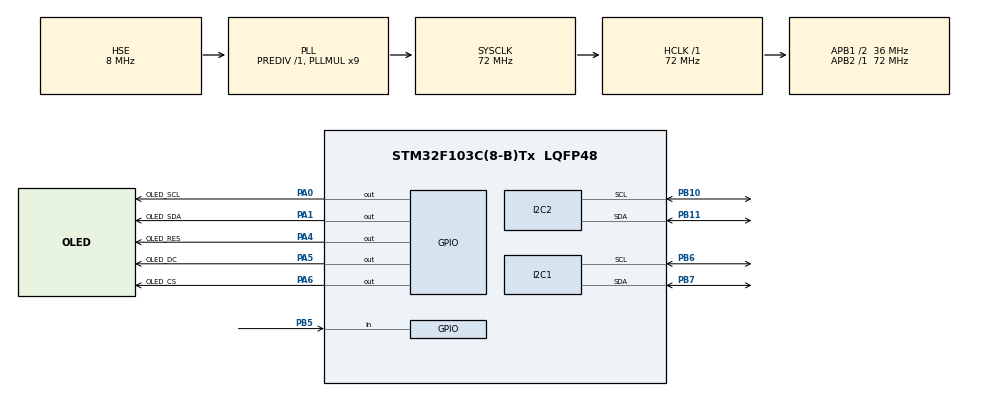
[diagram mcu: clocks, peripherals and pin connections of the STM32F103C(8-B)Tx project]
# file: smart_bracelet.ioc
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Mcu.Family=STM32F1
Mcu.Name=STM32F103C(8-B)Tx
Mcu.Package=LQFP48
NVIC.PriorityGroup=NVIC_PRIORITYGROUP_4
NVIC.TIM1_UP_IRQn=true\:0\:0\:false\:false\:true\:true\:true\:true
PA0-WKUP.GPIO_Label=OLED_SCL
PA0-WKUP.GPIO_ModeDefaultOutputPP=GPIO_MODE_OUTPUT_PP
PA0-WKUP.GPIO_PuPd=GPIO_PULLUP
PA0-WKUP.GPIO_Speed=GPIO_SPEED_FREQ_HIGH
PA0-WKUP.PinState=GPIO_PIN_SET
PA0-WKUP.Signal=GPIO_Output
PA1.GPIO_Label=OLED_SDA
PA1.GPIO_ModeDefaultOutputPP=GPIO_MODE_OUTPUT_PP
PA1.GPIO_PuPd=GPIO_PULLUP
PA1.GPIO_Speed=GPIO_SPEED_FREQ_HIGH
PA1.PinState=GPIO_PIN_SET
PA1.Signal=GPIO_Output
PA13.Mode=Serial_Wire
PA13.Signal=SYS_JTMS-SWDIO
PA14.Mode=Serial_Wire
PA14.Signal=SYS_JTCK-SWCLK
PA4.GPIO_Label=OLED_RES
PA4.GPIO_ModeDefaultOutputPP=GPIO_MODE_OUTPUT_PP
PA4.GPIO_PuPd=GPIO_PULLUP
PA4.GPIO_Speed=GPIO_SPEED_FREQ_HIGH
PA4.PinState=GPIO_PIN_SET
PA4.Signal=GPIO_Output
PA5.GPIO_Label=OLED_DC
PA5.GPIO_ModeDefaultOutputPP=GPIO_MODE_OUTPUT_PP
PA5.GPIO_PuPd=GPIO_PULLUP
PA5.GPIO_Speed=GPIO_SPEED_FREQ_HIGH
PA5.PinState=GPIO_PIN_SET
PA5.Signal=GPIO_Output
PA6.GPIO_Label=OLED_CS
PA6.GPIO_ModeDefaultOutputPP=GPIO_MODE_OUTPUT_PP
PA6.GPIO_PuPd=GPIO_PULLUP
PA6.GPIO_Speed=GPIO_SPEED_FREQ_HIGH
PA6.PinState=GPIO_PIN_SET
PA6.Signal=GPIO_Output
PB10.Mode=I2C
PB10.Signal=I2C2_SCL
PB11.Mode=I2C
PB11.Signal=I2C2_SDA
PB5.Signal=GPIO_Input
PB6.Mode=I2C
PB6.Signal=I2C1_SCL
PB7.Mode=I2C
PB7.Signal=I2C1_SDA
PD0-OSC_IN.Mode=HSE-External-Oscillator
PD0-OSC_IN.Signal=RCC_OSC_IN
PD1-OSC_OUT.Mode=HSE-External-Oscillator
PD1-OSC_OUT.Signal=RCC_OSC_OUT
ProjectManager.HeapSize=0x200
ProjectManager.StackSize=0x400
ProjectManager.TargetToolchain=MDK-ARM V5
RCC.AHBFreq_Value=72000000
RCC.APB1CLKDivider=RCC_HCLK_DIV2
RCC.APB1Freq_Value=36000000
RCC.APB1TimFreq_Value=72000000
RCC.APB2Freq_Value=72000000
RCC.APB2TimFreq_Value=72000000
RCC.HCLKFreq_Value=72000000
RCC.PLLMUL=RCC_PLL_MUL9
RCC.PLLSourceVirtual=RCC_PLLSOURCE_HSE
RCC.SYSCLKFreq_VALUE=72000000
RCC.SYSCLKSource=RCC_SYSCLKSOURCE_PLLCLK
RCC.USBFreq_Value=72000000
TIM1.AutoReloadPreload=TIM_AUTORELOAD_PRELOAD_ENABLE
TIM1.Period=9999
TIM1.Prescaler=7199
VP_TIM1_VS_ClockSourceINT.Mode=Internal
board=custom

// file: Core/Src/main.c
/* USER CODE BEGIN Header */
/**
  ******************************************************************************
  * @file           : main.c
  * @brief          : Main program body
  ******************************************************************************
  * @attention
  *
  * Copyright (c) 2025 STMicroelectronics.
  * All rights reserved.
  *
  * This software is licensed under terms that can be found in the LICENSE file
  * in the root directory of this software component.
  * If no LICENSE file comes with this software, it is provided AS-IS.
  *
  ******************************************************************************
  */
/* USER CODE END Header */
#include "main.h"
#include "i2c.h"
#include "tim.h"
#include "gpio.h"

/* USER CODE BEGIN Includes */
#include "oled.h"
#include "max30100.h"
#include "stdio.h"
#include "axdl345.h"
/* USER CODE END Includes */

/* USER CODE BEGIN PTD */
MAX30100_HandleTypeDef hmax;
/* USER CODE END PTD */

/* USER CODE BEGIN PD */
uint16_t ir_buffer[BUFFER_SIZE];
uint16_t red_buffer[BUFFER_SIZE];
uint32_t buffer_index = 0;
/* USER CODE END PD */

void SystemClock_Config(void);

int main(void)
{

  /* USER CODE BEGIN 1 */
	uint16_t ir_value, red_value;
    uint8_t heart_rate = 0;
    uint8_t spo2 = 0;  // In a real application, you would calculate this
  /* USER CODE END 1 */

  /* MCU Configuration--------------------------------------------------------*/

  /* Reset of all peripherals, Initializes the Flash interface and the Systick. */
  HAL_Init();

  /* Configure the system clock */
  SystemClock_Config();

  /* Initialize all configured peripherals */
  MX_GPIO_Init();
  MX_I2C1_Init();
  MX_I2C2_Init();
  MX_TIM1_Init();
  /* USER CODE BEGIN 2 */
	OLED_Init();
	OLED_ColorTurn(0);
  OLED_DisplayTurn(0);
	OLED_Clear();
	    if(MAX30100_Init(&hmax, &hi2c1, GPIOB, GPIO_PIN_5) != HAL_OK)
			{
					OLED_ShowString(0,0,(uint8_t*)"hello",16,1);
					OLED_Refresh();
			}
  start_read_mode();
  /* USER CODE END 2 */

  /* Infinite loop */
  while (1)
  {

    /* USER CODE BEGIN 3 */
											//	read_xyz();
		//	HAL_Delay(1000);
		if(HAL_GPIO_ReadPin(hmax.int_port, hmax.int_pin) == GPIO_PIN_RESET) {
            // Read FIFO until empty
            while(MAX30100_ReadFIFO(&hmax, &ir_value, &red_value) == HAL_OK) {
                // Apply moving average filter
               ir_buffer[buffer_index] = moving_average(&ir_value, FILTER_WINDOW, buffer_index);
//                red_buffer[buffer_index] = moving_average(red_value, FILTER_WINDOW, buffer_index);

                buffer_index++;
                if(buffer_index >= BUFFER_SIZE) {
                    // Calculate heart rate when buffer is full
                    heart_rate = CalculateHeartRate(ir_buffer, BUFFER_SIZE);

                    //calculate SpO2 here
                    // spo2 = calculate_spo2(ir_buffer, red_buffer, BUFFER_SIZE);

                    // Reset buffer
                    buffer_index = 0;

                    // Print results via UART
                    char msg[50];
                    sprintf(msg, "HR: %d bpm\r\n", heart_rate);
										OLED_ShowString(0,0,(uint8_t*)msg,8,1);
								    OLED_Refresh();
//                    HAL_UART_Transmit(&huart1, (uint8_t*)msg, strlen(msg), HAL_MAX_DELAY);
                }
            }
        }

  }
  /* USER CODE END 3 */
}

void SystemClock_Config(void)
{
  RCC_OscInitTypeDef RCC_OscInitStruct = {0};
  RCC_ClkInitTypeDef RCC_ClkInitStruct = {0};

  /** Initializes the RCC Oscillators according to the specified parameters
  * in the RCC_OscInitTypeDef structure.
  */
  RCC_OscInitStruct.OscillatorType = RCC_OSCILLATORTYPE_HSE;
  RCC_OscInitStruct.HSEState = RCC_HSE_ON;
  RCC_OscInitStruct.HSEPredivValue = RCC_HSE_PREDIV_DIV1;
  RCC_OscInitStruct.HSIState = RCC_HSI_ON;
  RCC_OscInitStruct.PLL.PLLState = RCC_PLL_ON;
  RCC_OscInitStruct.PLL.PLLSource = RCC_PLLSOURCE_HSE;
  RCC_OscInitStruct.PLL.PLLMUL = RCC_PLL_MUL9;
  if (HAL_RCC_OscConfig(&RCC_OscInitStruct) != HAL_OK)
  {
    Error_Handler();
  }

  /** Initializes the CPU, AHB and APB buses clocks
  */
  RCC_ClkInitStruct.ClockType = RCC_CLOCKTYPE_HCLK|RCC_CLOCKTYPE_SYSCLK
                              |RCC_CLOCKTYPE_PCLK1|RCC_CLOCKTYPE_PCLK2;
  RCC_ClkInitStruct.SYSCLKSource = RCC_SYSCLKSOURCE_PLLCLK;
  RCC_ClkInitStruct.AHBCLKDivider = RCC_SYSCLK_DIV1;
  RCC_ClkInitStruct.APB1CLKDivider = RCC_HCLK_DIV2;
  RCC_ClkInitStruct.APB2CLKDivider = RCC_HCLK_DIV1;

  if (HAL_RCC_ClockConfig(&RCC_ClkInitStruct, FLASH_LATENCY_2) != HAL_OK)
  {
    Error_Handler();
  }
}

void Error_Handler(void)
{
  __disable_irq();
  while (1)
  {
  }
}
